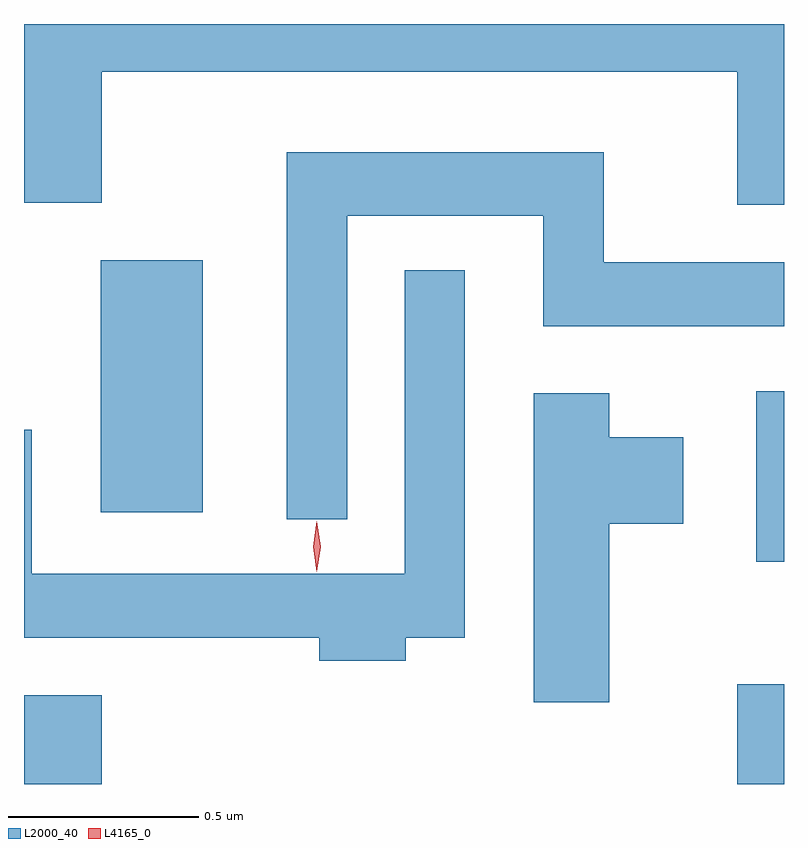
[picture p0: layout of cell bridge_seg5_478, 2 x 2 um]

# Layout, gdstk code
import gdstk
lib = gdstk.Library(unit=1e-6, precision=1e-09)
def R(c, l, rs):  # rectangles x0, y0, x1, y1
    for r in rs: c.add(gdstk.rectangle(r[:2], r[2:], *l))
def P(c, l, *ps):  # polygons
    for p in ps: c.add(gdstk.Polygon(p, *l))
L2000_40 = (2000, 40)
L4165_0 = (4165, 0)

bridge_seg5_478 = lib.new_cell('bridge_seg5_478')
R(bridge_seg5_478, L2000_40, [(379.714,1490.441,379.919,1490.674), (381.591,1490.441,381.714,1490.704), (381.641,1491.026,381.714,1491.474), (379.916,1491.156,380.184,1491.819)])
P(bridge_seg5_478, L2000_40, [(381.714,1492.441),(379.714,1492.441),(379.714,1491.971),(379.919,1491.971),(379.919,1492.316),(381.591,1492.316),(381.591,1491.966),(381.714,1491.966)],
  [(380.564,1491.936),(381.081,1491.936),(381.081,1491.646),(381.714,1491.646),(381.714,1491.814),(381.239,1491.814),(381.239,1492.104),(380.406,1492.104),(380.406,1491.138),(380.564,1491.138)],
  [(380.719,1490.826),(380.874,1490.826),(380.874,1491.793),(380.716,1491.793),(380.716,1490.994),(379.734,1490.994),(379.734,1491.373),(379.714,1491.373),(379.714,1490.826),(380.491,1490.826),(380.491,1490.766),(380.719,1490.766)],
  [(381.254,1491.126),(381.449,1491.126),(381.449,1491.354),(381.254,1491.354),(381.254,1491.469),(381.056,1491.469),(381.056,1490.656),(381.254,1490.656)])
P(bridge_seg5_478, L4165_0, [(380.485,1490.999),(380.484,1491),(380.475,1491.066),(380.484,1491.132),(380.485,1491.133),(380.485,1491.132),(380.495,1491.066),(380.485,1491)])

lib.write_gds('bridge_seg5_478.gds')
